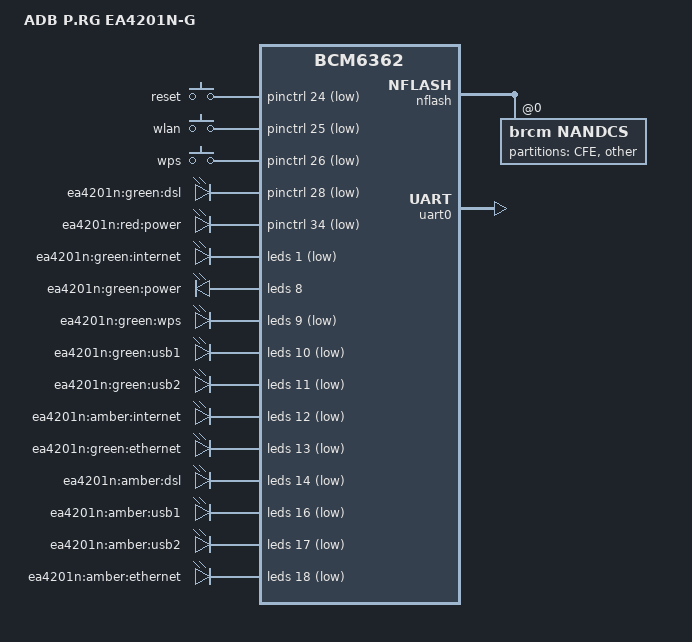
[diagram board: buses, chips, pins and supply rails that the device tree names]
// SPDX-License-Identifier: GPL-2.0-or-later

/dts-v1/;

#include "bcm6362.dtsi"

#include <dt-bindings/input/input.h>

/ {
	model = "ADB P.RG EA4201N-G";
	compatible = "adb,ea4201n", "brcm,bcm6362";

	aliases {
		led-boot = &led_power_green;
		led-failsafe = &led_power_green;
		led-running = &led_power_green;
		led-upgrade = &led_power_green;
	};

	chosen {
		bootargs = "rootfstype=squashfs,ubifs noinitrd console=ttyS0,115200";
		stdout-path = "serial0:115200n8";
	};

	keys {
		compatible = "gpio-keys-polled";
		#address-cells = <1>;
		#size-cells = <0>;
		poll-interval = <20>;

		reset {
			label = "reset";
			gpios = <&pinctrl 24 1>;
			linux,code = <KEY_RESTART>;
			debounce-interval = <60>;
		};

		wlan {
			label = "wlan";
			gpios = <&pinctrl 25 1>;
			linux,code = <KEY_WLAN>;
			debounce-interval = <60>;
		};

		wps {
			label = "wps";
			gpios = <&pinctrl 26 1>;
			linux,code = <KEY_WPS_BUTTON>;
			debounce-interval = <60>;
		};
	};

	leds {
		compatible = "gpio-leds";

		led@28 {
			label = "ea4201n:green:dsl";
			gpios = <&pinctrl 28 1>;
		};

		led@34 {
			label = "ea4201n:red:power";
			gpios = <&pinctrl 34 1>;
		};
	};
};

&leds {
	status = "okay";
	brcm,serial-leds;
	brcm,serial-dat-low;
	brcm,serial-shift-inv;
	brcm,serial-mux;

	pinctrl-names = "default";
	pinctrl-0 = <&pinctrl_leds &pinctrl_serial_led>;

	led@1 {
		reg = <1>;
		active-low;
		label = "ea4201n:green:internet";
	};

	led_power_green: led@8 {
		reg = <8>;
		label = "ea4201n:green:power";
		default-state = "on";
	};

	led@9 {
		reg = <9>;
		active-low;
		label = "ea4201n:green:wps";
	};

	led@10 {
		reg = <10>;
		active-low;
		label = "ea4201n:green:usb1";
	};

	led@11 {
		reg = <11>;
		active-low;
		label = "ea4201n:green:usb2";
	};

	led@12 {
		reg = <12>;
		active-low;
		label = "ea4201n:amber:internet";
	};

	led@13 {
		reg = <13>;
		active-low;
		label = "ea4201n:green:ethernet";
	};

	led@14 {
		reg = <14>;
		active-low;
		label = "ea4201n:amber:dsl";
	};

	led@16 {
		reg = <16>;
		active-low;
		label = "ea4201n:amber:usb1";
	};

	led@17 {
		reg = <17>;
		active-low;
		label = "ea4201n:amber:usb2";
	};

	led@18 {
		reg = <18>;
		active-low;
		label = "ea4201n:amber:ethernet";
	};
};

&nflash {
	status = "okay";

	nandcs@0 {
		compatible = "brcm,nandcs";
		#size-cells = <1>;
		#address-cells = <1>;
		reg = <0>;
		nand-ecc-step-size = <512>;
		nand-ecc-strength = <15>;
		nand-on-flash-bbt;

		partitions {
			compatible = "fixed-partitions";
			#address-cells = <1>;
			#size-cells = <1>;

			partition@0 {
				label = "CFE";
				reg = <0x0000000 0x0004000>;
			};

			partition@4000 {
				label = "other";
				reg = <0x0004000 0x3ffc000>;
			};

		};
	};
};

&pinctrl {
	pinctrl_leds: leds {
		function = "led";
		pins = "gpio1";
	};
};

&uart0 {
	status = "okay";
};
